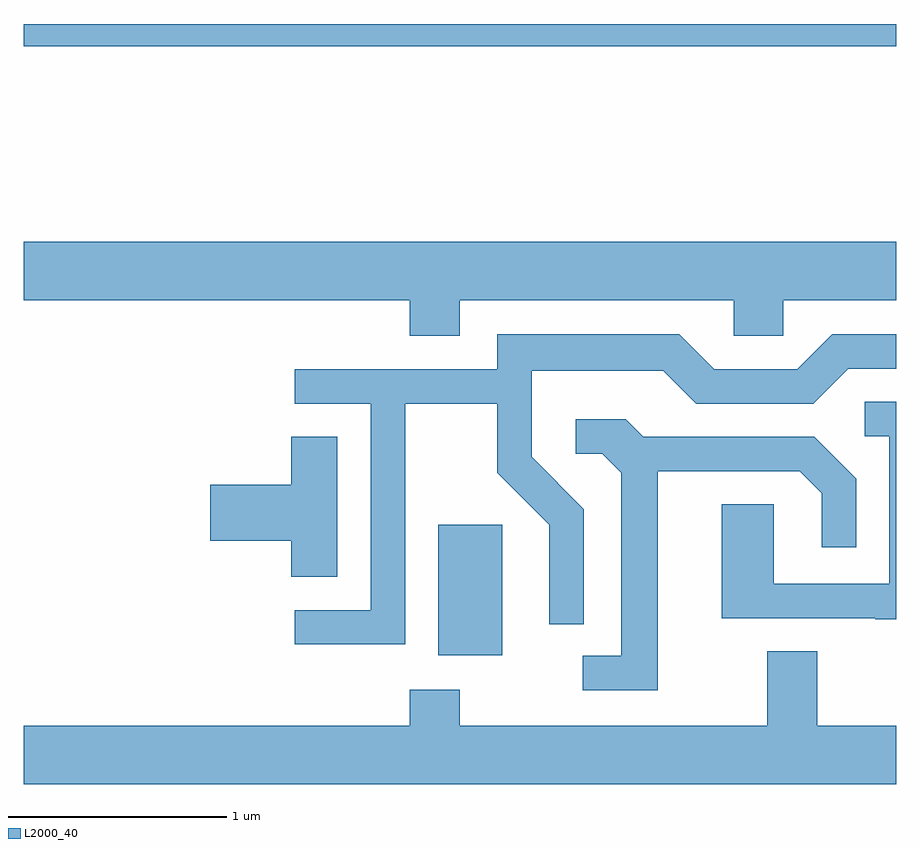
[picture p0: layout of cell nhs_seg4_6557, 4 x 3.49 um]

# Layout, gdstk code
import gdstk
lib = gdstk.Library(unit=1e-6, precision=1e-09)
def R(c, l, rs):  # rectangles x0, y0, x1, y1
    for r in rs: c.add(gdstk.rectangle(r[:2], r[2:], *l))
def P(c, l, *ps):  # polygons
    for p in ps: c.add(gdstk.Polygon(p, *l))
L2000_40 = (2000, 40)

nhs_seg4_6557 = lib.new_cell('nhs_seg4_6557')
R(nhs_seg4_6557, L2000_40, [(379.511,1313.086,379.804,1313.684), (377.611,1315.881,381.611,1315.982)])
P(nhs_seg4_6557, L2000_40, [(379.609,1314.716),(380.866,1314.716),(380.866,1314.551),(381.094,1314.551),(381.094,1314.716),(381.611,1314.716),(381.611,1314.984),(377.611,1314.984),(377.611,1314.716),(379.381,1314.716),(379.381,1314.551),(379.609,1314.551)],
  [(379.359,1314.241),(379.781,1314.241),(379.781,1313.924),(380.021,1313.684),(380.021,1313.228),(380.179,1313.228),(380.179,1313.757),(379.939,1313.997),(379.939,1314.391),(380.544,1314.391),(380.694,1314.241),(381.232,1314.241),(381.392,1314.401),(381.611,1314.401),(381.611,1314.559),(381.319,1314.559),(381.159,1314.399),(380.777,1314.399),(380.617,1314.559),(379.781,1314.559),(379.781,1314.399),(378.853,1314.399),(378.853,1314.241),(379.201,1314.241),(379.201,1313.294),(378.853,1313.294),(378.853,1313.136),(379.359,1313.136)],
  [(381.611,1314.249),(381.468,1314.249),(381.468,1314.091),(381.581,1314.091),(381.581,1313.414),(381.049,1313.414),(381.049,1313.779),(380.811,1313.779),(380.811,1313.256),(381.515,1313.256),(381.515,1313.251),(381.611,1313.251)],
  [(380.519,1313.931),(381.169,1313.931),(381.271,1313.829),(381.271,1313.583),(381.429,1313.583),(381.429,1313.897),(381.237,1314.089),(380.452,1314.089),(380.372,1314.169),(380.143,1314.169),(380.143,1314.011),(380.264,1314.011),(380.351,1313.924),(380.351,1313.084),(380.173,1313.084),(380.173,1312.926),(380.519,1312.926)],
  [(379.049,1314.089),(378.836,1314.089),(378.836,1313.869),(378.466,1313.869),(378.466,1313.611),(378.836,1313.611),(378.836,1313.446),(379.049,1313.446)],
  [(381.611,1312.764),(381.249,1312.764),(381.249,1313.104),(381.021,1313.104),(381.021,1312.764),(379.609,1312.764),(379.609,1312.929),(379.381,1312.929),(379.381,1312.764),(377.611,1312.764),(377.611,1312.496),(381.611,1312.496)])

lib.write_gds('nhs_seg4_6557.gds')
